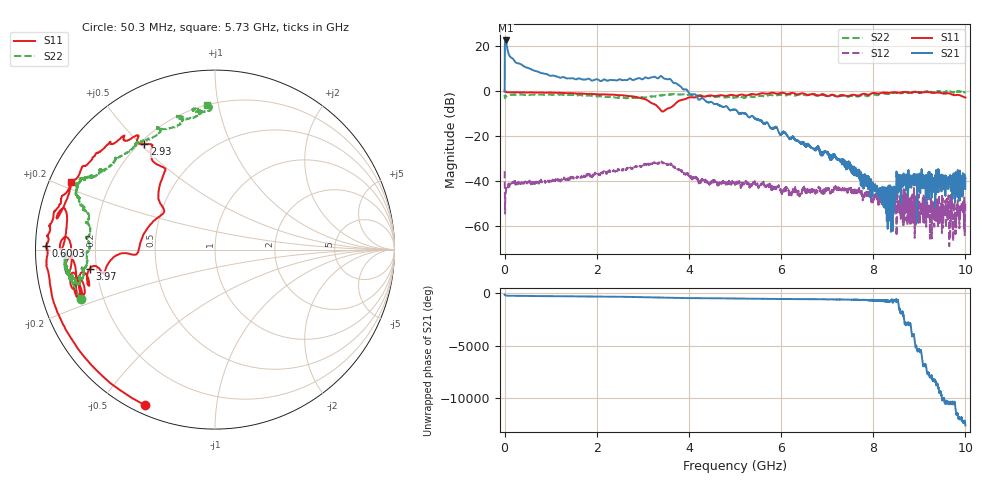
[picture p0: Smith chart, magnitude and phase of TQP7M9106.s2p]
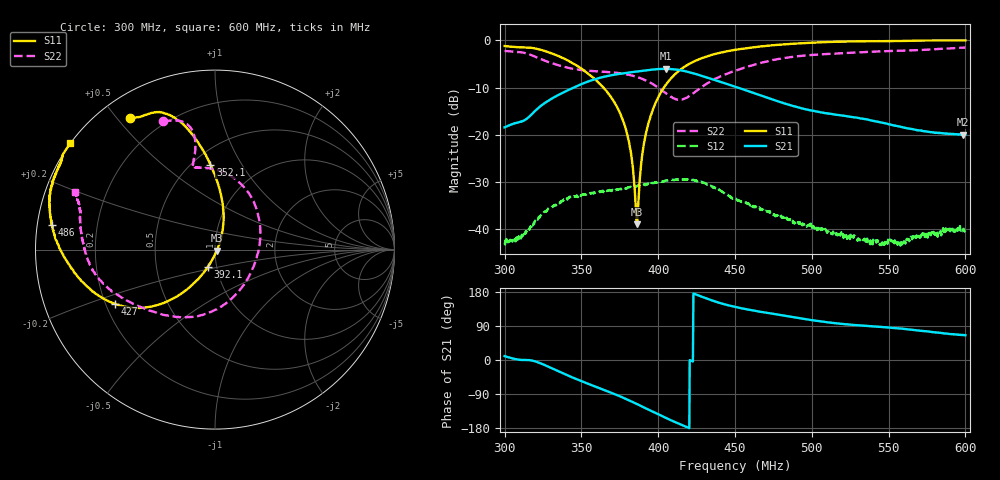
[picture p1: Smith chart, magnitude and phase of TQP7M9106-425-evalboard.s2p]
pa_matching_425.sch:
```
<Qucs Schematic 0.0.20>
<Properties>
  <View=-413,-2890,4754,31,1.17876,1270,1440>
  <Grid=10,10,1>
  <DataSet=uhf-tx.dat>
  <DataDisplay=uhf-tx.dpl>
  <OpenDisplay=1>
  <Script=uhf-tx.m>
  <RunScript=0>
  <showFrame=0>
  <FrameText0=Title>
  <FrameText1=Drawn By:>
  <FrameText2=Date:>
  <FrameText3=Revision:>
</Properties>
<Symbol>
</Symbol>
<Components>
  <GND *51 5 530 -2440 0 0 0 0>
  <Pac P10 1 390 -2440 18 -26 0 1 "5" 1 "50 Ohm" 1 "-100 dBm" 0 "2220 MHz" 0 "26.85" 0>
  <GND *52 5 390 -2370 0 0 0 0>
  <Pac P11 1 670 -2440 18 -26 0 1 "6" 1 "50 Ohm" 1 "-100 dBm" 0 "2220 MHz" 0 "26.85" 0>
  <GND *53 5 670 -2370 0 0 0 0>
  <SPfile PA2 1 530 -2470 -26 -38 0 0 "TQP7M9106.s2p" 0 "rectangular" 0 "linear" 0 "open" 0 "2" 0>
  <.SP SP1 1 -100 -2460 0 91 0 0 "log" 1 "300MHz" 1 "600MHz" 1 "400" 1 "no" 0 "1" 0 "2" 0 "no" 0 "no" 0>
  <SUBST Subst1 1 -90 -2200 -30 24 0 0 "3.7" 1 "0.35 mm" 1 "0.035 mm" 1 "0.015" 1 "1.72e-8" 1 "0" 1>
  <Eqn Eqn6 1 1920 -1560 -31 19 0 0 "S87_dB=dB(S[8,7])" 1 "S78_dB=dB(S[7,8])" 1 "S77_dB=dB(S[7,7])" 1 "S88_dB=dB(S[8,8])" 1 "yes" 0>
  <GND *72 5 2220 -1700 0 0 0 0>
  <Pac P16 1 2080 -1700 18 -26 0 1 "3" 1 "50 Ohm" 1 "-100 dBm" 0 "2220 MHz" 0 "26.85" 0>
  <GND *73 5 2080 -1630 0 0 0 0>
  <Pac P17 1 2360 -1700 18 -26 0 1 "4" 1 "50 Ohm" 1 "-100 dBm" 0 "2220 MHz" 0 "26.85" 0>
  <GND *74 5 2360 -1630 0 0 0 0>
  <SPfile PA4 1 2220 -1730 -26 -38 0 0 "TQP7M9106-425-evalboard.s2p" 0 "rectangular" 0 "linear" 0 "open" 0 "2" 0>
  <Eqn Eqn7 1 2530 -1660 -31 19 0 0 "S43_dB=dB(S[4,3])+30" 1 "S33_dB=dB(S[3,3])" 1 "S44_dB=dB(S[4,4])" 1 "S34_dB=dB(S[3,4])" 1 "yes" 0>
  <GND *75 5 620 -1510 0 0 0 0>
  <GND *76 5 880 -1660 0 0 0 0>
  <C C37 1 830 -1720 -26 17 0 0 "100 pF" 1 "" 0 "neutral" 0>
  <C C38 1 830 -1780 -26 17 0 0 "1 nF" 1 "" 0 "neutral" 0>
  <C C39 1 830 -1850 -26 17 0 0 "10 uF" 1 "" 0 "neutral" 0>
  <SPfile PA5 1 620 -1540 -26 -38 0 0 "TQP7M9106.s2p" 0 "rectangular" 0 "linear" 0 "open" 0 "2" 0>
  <GND *77 5 190 -1430 0 0 0 0>
  <CLIN CL11 1 520 -1540 -26 28 0 0 "Subst1" 1 "0.78 mm" 1 "0.9 mm" 1 "5.7 mm" 1 "Air" 0 "yes" 0>
  <CLIN CL12 1 710 -1540 -26 28 0 0 "Subst1" 1 "0.78 mm" 1 "0.9 mm" 1 "3 mm" 1 "Air" 0 "yes" 0>
  <GND *79 5 -300 -1410 0 0 0 0>
  <CLIN CL15 1 -70 -1540 -59 -166 0 0 "Subst1" 1 "0.78 mm" 1 "0.9 mm" 1 "2 mm" 1 "Air" 0 "yes" 0>
  <CLIN CL16 1 -230 -1540 -59 -166 0 0 "Subst1" 1 "0.78 mm" 1 "0.9 mm" 1 "4.2 mm" 1 "Air" 0 "yes" 0>
  <L L30 1 750 -1660 10 -26 0 1 "18 nH" 1 "" 0>
  <CLIN CL17 1 770 -1590 -188 -179 0 1 "Subst1" 1 "0.78 mm" 1 "0.9 mm" 1 "1.5 mm" 1 "Air" 0 "yes" 0>
  <CLIN CL18 1 820 -1540 -26 28 0 0 "Subst1" 1 "0.78 mm" 1 "0.9 mm" 1 "2 mm" 1 "Air" 0 "yes" 0>
  <C C40 1 380 -1540 -26 17 0 0 "22 pF" 1 "" 0 "neutral" 0>
  <C C41 2 -162 -1540 -26 17 0 0 "1.2 pF" 1 "" 0 "neutral" 0>
  <L L32 2 20 -1540 -26 10 0 0 "110 nH" 1 "" 0>
  <C C43 1 940 -1540 -26 17 0 0 "18 pF" 1 "" 0 "neutral" 0>
  <L L33 1 190 -1470 10 -26 0 1 "4.7 nH" 1 "" 0>
  <GND *80 5 1110 -1420 0 0 0 0>
  <L L34 1 1110 -1460 10 -26 0 1 "6.8 nH" 1 "" 0>
  <CLIN CL20 1 280 -1540 -36 -159 0 0 "Subst1" 1 "0.78 mm" 1 "0.9 mm" 1 "1 mm" 1 "Air" 0 "yes" 0>
  <CLIN CL21 1 130 -1540 -59 -166 0 0 "Subst1" 1 "0.78 mm" 1 "0.9 mm" 1 "3.0 mm" 1 "Air" 0 "yes" 0>
  <CLIN CL22 1 1020 -1540 -17 129 0 0 "Subst1" 1 "0.78 mm" 1 "0.9 mm" 1 "2 mm" 1 "Air" 0 "yes" 0>
  <Pac P18 1 -300 -1460 18 -26 0 1 "7" 1 "50 Ohm" 1 "0 dBm" 0 "1 GHz" 0 "26.85" 0>
  <CLIN CL19 1 1150 -1540 -20 104 0 0 "Subst1" 1 "0.78 mm" 1 "0.9 mm" 1 "3 mm" 1 "Air" 0 "yes" 0>
  <GND *78 5 1710 -1430 0 0 0 0>
  <CLIN CL13 1 1440 -1540 -26 28 0 0 "Subst1" 1 "0.78 mm" 1 "0.9 mm" 1 "2 mm" 1 "Air" 0 "yes" 0>
  <CLIN CL14 1 1640 -1540 -26 28 0 0 "Subst1" 1 "0.78 mm" 1 "0.9 mm" 1 "4.5 mm" 1 "Air" 0 "yes" 0>
  <C C42 2 1320 -1540 -26 17 0 0 "2 pF" 1 "" 0 "neutral" 0>
  <L L31 2 1550 -1540 -26 10 0 0 "68 nH" 1 "" 0>
  <Pac P19 1 1710 -1500 18 -26 0 1 "8" 1 "50 Ohm" 1 "-100 dBm" 0 "2220 MHz" 0 "26.85" 0>
</Components>
<Wires>
  <390 -2410 390 -2370 "" 0 0 0 "">
  <670 -2410 670 -2370 "" 0 0 0 "">
  <560 -2470 670 -2470 "" 0 0 0 "">
  <390 -2470 500 -2470 "" 0 0 0 "">
  <2080 -1670 2080 -1630 "" 0 0 0 "">
  <2360 -1670 2360 -1630 "" 0 0 0 "">
  <2250 -1730 2360 -1730 "" 0 0 0 "">
  <2080 -1730 2190 -1730 "" 0 0 0 "">
  <880 -1690 880 -1660 "" 0 0 0 "">
  <800 -1850 800 -1780 "" 0 0 0 "">
  <860 -1690 880 -1690 "" 0 0 0 "">
  <860 -1850 860 -1780 "" 0 0 0 "">
  <800 -1720 800 -1690 "" 0 0 0 "">
  <860 -1720 860 -1690 "" 0 0 0 "">
  <800 -1780 800 -1720 "" 0 0 0 "">
  <860 -1780 860 -1720 "" 0 0 0 "">
  <740 -1540 760 -1540 "" 0 0 0 "">
  <410 -1540 490 -1540 "" 0 0 0 "">
  <190 -1540 190 -1500 "" 0 0 0 "">
  <190 -1440 190 -1430 "" 0 0 0 "">
  <190 -1540 250 -1540 "" 0 0 0 "">
  <-132 -1540 -100 -1540 "" 0 0 0 "">
  <-300 -1430 -300 -1410 "" 0 0 0 "">
  <-200 -1540 -192 -1540 "" 0 0 0 "">
  <550 -1540 590 -1540 "" 0 0 0 "">
  <650 -1540 680 -1540 "" 0 0 0 "">
  <750 -1690 800 -1690 "" 0 0 0 "">
  <750 -1630 770 -1630 "" 0 0 0 "">
  <770 -1630 770 -1620 "" 0 0 0 "">
  <760 -1560 770 -1560 "" 0 0 0 "">
  <760 -1560 760 -1540 "" 0 0 0 "">
  <850 -1540 910 -1540 "" 0 0 0 "">
  <760 -1540 790 -1540 "" 0 0 0 "">
  <310 -1540 350 -1540 "" 0 0 0 "">
  <160 -1540 190 -1540 "" 0 0 0 "">
  <-300 -1540 -300 -1490 "" 0 0 0 "">
  <-300 -1540 -260 -1540 "" 0 0 0 "">
  <50 -1540 100 -1540 "" 0 0 0 "">
  <-40 -1540 -10 -1540 "" 0 0 0 "">
  <1110 -1430 1110 -1420 "" 0 0 0 "">
  <970 -1540 990 -1540 "" 0 0 0 "">
  <1180 -1540 1290 -1540 "" 0 0 0 "">
  <1470 -1540 1520 -1540 "" 0 0 0 "">
  <1580 -1540 1610 -1540 "" 0 0 0 "">
  <1710 -1470 1710 -1430 "" 0 0 0 "">
  <1350 -1540 1410 -1540 "" 0 0 0 "">
  <1710 -1540 1710 -1530 "" 0 0 0 "">
  <1670 -1540 1710 -1540 "" 0 0 0 "">
  <1050 -1540 1110 -1540 "" 0 0 0 "">
  <1110 -1540 1120 -1540 "" 0 0 0 "">
  <1110 -1540 1110 -1490 "" 0 0 0 "">
</Wires>
<Diagrams>
  <Smith 1010 -2120 605 605 3 #c0c0c0 1 00 1 0 1 1 1 0 4 1 1 0 1 1 315 0 225 "" "" "" "">
	<"S[5,5]" #0000ff 2 3 0 0 0>
	  <Mkr 4.10133e+08 -269 -247 3 0 0 1>
	<"S[6,6]" #ff0000 2 3 0 0 0>
	  <Mkr 4.10133e+08 -68 0 3 0 0 1>
  </Smith>
  <Rect -260 -102 1040 513 3 #c0c0c0 1 00 1 2e+08 5e+07 6e+08 1 -18.2231 5 1.65247 1 -1 0.5 1 315 0 225 "" "" "" "">
	<"S77_dB" #0000ff 2 3 0 0 0>
	<"S88_dB" #ff0000 2 3 0 0 0>
	<"S33_dB" #00ffff 2 3 0 0 0>
	<"S44_dB" #005500 2 3 0 0 0>
  </Rect>
  <Rect -260 -710 1042 545 3 #c0c0c0 1 00 0 3.8e+08 1e+07 4.5e+08 0 15 2 28 1 -1 0.5 1 315 0 225 "" "" "" "">
	<"S87_dB" #0000ff 2 3 0 0 0>
	<"S43_dB" #ff0000 2 3 0 0 0>
  </Rect>
  <Smith 990 -185 1014 1014 3 #c0c0c0 1 00 1 0 1 1 1 0 4 1 1 0 1 1 315 0 225 "" "" "" "">
	<"S[7,7]" #0000ff 2 3 0 0 0>
	<"S[8,8]" #ff0000 2 3 0 0 0>
	<"S[3,3]" #00ffff 2 3 0 0 0>
	<"S[4,4]" #ffff00 2 3 0 0 0>
  </Smith>
</Diagrams>
<Paintings>
  <Rectangle 240 -2870 1480 860 #005500 2 2 #c0c0c0 1 0>
  <Text 240 -1910 22 #000000 0 "Evaluation Board at 425MHz">
  <Text 2490 -1780 12 #000000 0 "Measurements of above matching:\n-30dB Attenuator in S43\n-6dBm Pout miniVNA Tiny">
</Paintings>
```
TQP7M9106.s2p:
! TriQuint Semiconductor
! TQP7M9106 Power Amplifier
! 24-pin QFN Package
! The data is for the unmatched device in a 50 Ohm system, 2-port file de-embedded to the device leads.
! Device bias: +5V V @ 455 mA Icq
! Temperature: 25C
!  Port 1 corresponds to Pins 4 and 5 on TQP7M9106 (RF input)
!  Port 2 corresponds to Pins 14, 15 and 16 on TQP7M9106 (RF output)
! All data in (Magnitude/Angle) format
! freq-unit  param-type  data-format  keyword  impedance-ohms
! GHz		S-param		Mag/Angle		50 Ohms
# Hz S dB R 50
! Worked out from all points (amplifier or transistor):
!   2001 points, 300 kHz to 10 GHz, reference 50 ohm
!   highest |S21| = 22.6 dB at 20.3 MHz (marker M1)
!   |S21| within 3 dB of that: 5.246 MHz to 51.88 MHz (46.63 MHz wide, 163 % of centre)
!   unconditionally stable (mu >= 1): 991.8 MHz to 9.39 GHz; 9.42 GHz to 9.629 GHz; 9.631 GHz to end of sweep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
!   at 1.665 GHz: K = 1.49, MAG = 17.7 dB, |S12| = -38.3 dB
!   at 5 GHz: K = 24.78, MAG = -0.7 dB, |S12| = -40.6 dB
!   at 10 GHz: K = 576.91, MAG = -24.8 dB, |S12| = -50.3 dB
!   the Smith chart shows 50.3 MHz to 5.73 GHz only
!   S11 on the Smith chart (normalised r, x): 50.3 MHz: 0.04, -0.65; 600.3 MHz: 0.03, +0.01; 2.93 GHz: 0.22, +0.51; 3.97 GHz: 0.17, -0.07; 5.73 GHz: 0.06, +0.22
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300000  0.02 -0.3  -0.25 -105.6  -35.69 -161.7  -1.59 -2.3
2.02994e7  -0.25 -62.2  22.62 174.5  -46.84 68.6  -2.65 -133.8
5.02985e7  -0.44 -114.2  19.78 144.7  -42.10 39.1  -1.98 -159.9
8.02976e7  -0.52 -137.5  17.16 138.8  -41.42 25.2  -1.66 -167.6
2.052938e8  -0.51 -164.9  13.73 131.6  -40.91 3.7  -1.58 -175.5
6.00282e8  -0.53 178.7  9.50 112.3  -41.24 0.8  -1.56 -176.2
2.930212e9  -3.01 123.8  5.80 16.0  -33.52 -63.6  -2.83 168.2
3.970181e9  -3.02 -171.3  0.25 -85.5  -36.93 -178.0  -1.66 151.9
5.00015e9  -2.03 -167.4  -8.19 -121.3  -40.58 127.3  -2.93 117.5
5.730128e9  -1.06 155.0  -14.97 -165.5  -42.78 68.9  -1.84 93.0
1e10  -2.83 69.8  -38.69 -5.2  -50.33 23.1  -0.39 134.7
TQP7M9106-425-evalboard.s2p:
! created by azisi at Mon Sep 28 15:06:25 EEST 2020
! generated using vna/J Version 3.4.3
# Hz S DB R 50.0
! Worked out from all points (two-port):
!   1014 points, 300 MHz to 600 MHz, reference 50 ohm
!   highest |S21| = -6.02 dB at 404.8 MHz (marker M1); lowest = -20.0 dB at 598.2 MHz (marker M2)
!   |S21| within 3 dB of the highest: 352 MHz to 442.6 MHz (90.63 MHz wide, 22.8 % of centre)
!   lowest |S11| = -39.0 dB at 386.2 MHz (marker M3), VSWR 1.02, Z = 51 - j0.548 ohm
!   |S11| at or under -10 dB: 364.3 MHz to 403.7 MHz (39.42 MHz wide, 10.3 % of centre)
!   |S22| runs from -12.6 to -1.5 dB; largest |S21 - S12| = 0.51
!   S11 on the Smith chart (normalised r, x): 300 MHz: 0.09, +0.54; 352.1 MHz: 0.61, +0.74; 392.1 MHz: 0.91, -0.18; 427 MHz: 0.24, -0.24; 486 MHz: 0.04, +0.07; 600 MHz: 0.00, +0.33
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3e8  -1.18 122.9  -18.46 10.3  -42.94 -88.2  -2.22 111.9
3.521222e8  -6.50 93.1  -9.01 -59.1  -32.69 -172.4  -6.39 104.8
3.861794e8  -39.03 -28.7  -6.59 -116.2  -30.93 135.2  -7.75 74.3
3.921023e8  -19.61 -112.6  -6.34 -127.9  -30.57 127.1  -8.52 62.2
4.048367e8  -9.46 -129.1  -6.02 -152.6  -29.79 104.9  -11.21 23.8
4.220134e8  -4.67 -146.8  -6.91 -362.9  -29.65 68.8  -11.41 -61.2
4.270479e8  -3.94 -151.7  -7.40 169.1  -30.01 58.9  -10.19 -79.8
4.501475e8  -2.00 -170.9  -9.83 139.9  -33.77 26.0  -6.43 -132.2
4.859816e8  -0.72 171.5  -13.74 114.4  -38.02 10.4  -3.54 -165.4
5.98222e8  0.00 143.8  -20.02 66.0  -40.53 -11.7  -1.53 157.9
5.999989e8  0.00 143.6  -19.98 65.3  -40.70 -13.5  -1.50 157.6
